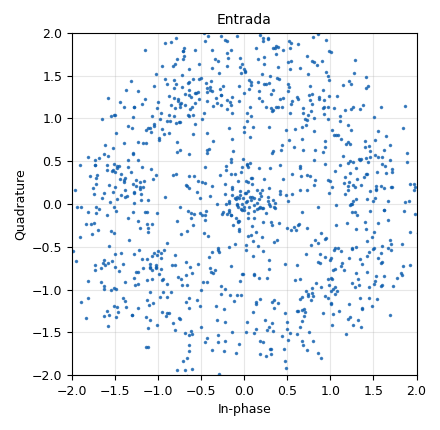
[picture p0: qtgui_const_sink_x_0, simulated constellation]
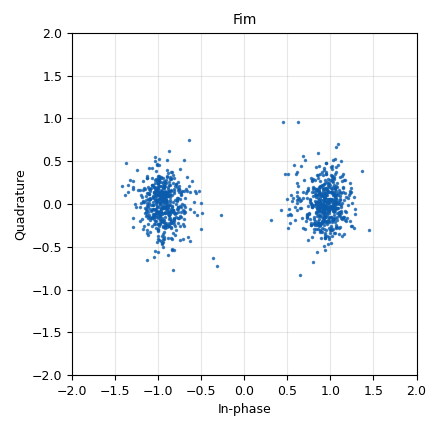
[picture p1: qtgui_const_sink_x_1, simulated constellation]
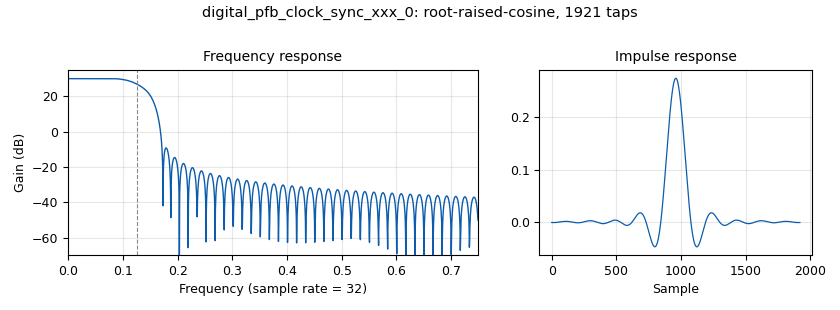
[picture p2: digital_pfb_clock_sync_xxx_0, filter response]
<?xml version='1.0' encoding='utf-8'?>
<?grc format='1' created='3.7.11'?>
<flow_graph>
<block>
<key>options</key>
<param><key>id</key><value>top_block</value></param>
<param><key>generate_options</key><value>qt_gui</value></param>
</block>
<block>
<key>variable_constellation</key>
<param><key>id</key><value>PSK</value></param>
<param><key>type</key><value>bpsk</value></param>
<param><key>precision</key><value>8</value></param>
</block>
<block>
<key>variable_qtgui_range</key>
<param><key>id</key><value>freq_offset</value></param>
<param><key>value</key><value>0.008</value></param>
<param><key>label</key><value>Frequency Offset</value></param>
<param><key>orient</key><value>Qt.Horizontal</value></param>
<param><key>start</key><value>-0.1</value></param>
<param><key>step</key><value>0.001</value></param>
<param><key>stop</key><value>0.1</value></param>
</block>
<block>
<key>variable_qtgui_range</key>
<param><key>id</key><value>gain_CMA</value></param>
<param><key>value</key><value>35e-3</value></param>
<param><key>orient</key><value>Qt.Horizontal</value></param>
<param><key>start</key><value>0</value></param>
<param><key>step</key><value>1e-3</value></param>
<param><key>stop</key><value>100e-3</value></param>
</block>
<block>
<key>variable_qtgui_range</key>
<param><key>id</key><value>loop_bw_CL</value></param>
<param><key>value</key><value>62.8e-3</value></param>
<param><key>orient</key><value>Qt.Horizontal</value></param>
<param><key>start</key><value>0</value></param>
<param><key>step</key><value>1e-3</value></param>
<param><key>stop</key><value>100e-3</value></param>
</block>
<block>
<key>variable_qtgui_range</key>
<param><key>id</key><value>loop_bw_PCS</value></param>
<param><key>value</key><value>62.8e-3</value></param>
<param><key>orient</key><value>Qt.Horizontal</value></param>
<param><key>start</key><value>0</value></param>
<param><key>step</key><value>1e-3</value></param>
<param><key>stop</key><value>400e-3</value></param>
</block>
<block>
<key>variable</key>
<param><key>id</key><value>nfilts</value></param>
<param><key>value</key><value>32</value></param>
</block>
<block>
<key>variable</key>
<param><key>id</key><value>ntaps</value></param>
<param><key>value</key><value>15</value></param>
</block>
<block>
<key>variable_constellation_rect</key>
<param><key>id</key><value>qpsk</value></param>
<param><key>const_points</key><value>[0.707+0.707j, -0.707+0.707j, -0.707-0.707j, 0.707-0.707j]</value></param>
<param><key>_enabled</key><value>0</value></param>
<param><key>imag_sect</key><value>2</value></param>
<param><key>real_sect</key><value>2</value></param>
<param><key>rot_sym</key><value>4</value></param>
<param><key>sym_map</key><value>[0, 1, 2, 3]</value></param>
<param><key>w_imag_sect</key><value>1</value></param>
<param><key>w_real_sect</key><value>1</value></param>
</block>
<block>
<key>variable</key>
<param><key>id</key><value>rrc_taps</value></param>
<param><key>_enabled</key><value>0</value></param>
<param><key>value</key><value>firdes.root_raised_cosine(32, 32, 1.0/float(2), 0.35, 11*2*32)</value></param>
</block>
<block>
<key>variable</key>
<param><key>id</key><value>rrc_taps</value></param>
<param><key>value</key><value>firdes.root_raised_cosine(nfilts, nfilts, 1.0/float(sps), 0.35, ntaps*sps*nfilts)</value></param>
</block>
<block>
<key>variable</key>
<param><key>id</key><value>samp_rate</value></param>
<param><key>value</key><value>250e3</value></param>
</block>
<block>
<key>variable</key>
<param><key>id</key><value>sps</value></param>
<param><key>value</key><value>4</value></param>
</block>
<block>
<key>variable_qtgui_range</key>
<param><key>id</key><value>time_offset</value></param>
<param><key>value</key><value>1.0005</value></param>
<param><key>label</key><value>Timing Offset</value></param>
<param><key>orient</key><value>Qt.Horizontal</value></param>
<param><key>start</key><value>0.999</value></param>
<param><key>step</key><value>0.0001</value></param>
<param><key>stop</key><value>1.001</value></param>
</block>
<block>
<key>analog_agc_xx</key>
<param><key>id</key><value>analog_agc_xx_0</value></param>
<param><key>_enabled</key><value>2</value></param>
<param><key>gain</key><value>1.0</value></param>
<param><key>max_gain</key><value>65536</value></param>
<param><key>rate</key><value>1e-4</value></param>
<param><key>reference</key><value>1.0</value></param>
<param><key>type</key><value>complex</value></param>
</block>
<block>
<key>analog_random_source_x</key>
<param><key>id</key><value>analog_random_source_x_0</value></param>
<param><key>max</key><value>256</value></param>
<param><key>min</key><value>0</value></param>
<param><key>num_samps</key><value>10000</value></param>
<param><key>type</key><value>byte</value></param>
<param><key>repeat</key><value>True</value></param>
</block>
<block>
<key>blocks_throttle</key>
<param><key>id</key><value>blocks_throttle_0</value></param>
<param><key>samples_per_second</key><value>160e3</value></param>
<param><key>type</key><value>byte</value></param>
</block>
<block>
<key>blocks_vector_source_x</key>
<param><key>id</key><value>blocks_vector_source_x_0</value></param>
<param><key>_enabled</key><value>0</value></param>
<param><key>type</key><value>byte</value></param>
<param><key>repeat</key><value>True</value></param>
<param><key>vector</key><value>(15, 255, 64, 150, 32)</value></param>
</block>
<block>
<key>channels_channel_model</key>
<param><key>id</key><value>channels_channel_model_0</value></param>
<param><key>epsilon</key><value>time_offset</value></param>
<param><key>freq_offset</key><value>freq_offset</value></param>
<param><key>noise_voltage</key><value>100e-3</value></param>
<param><key>seed</key><value>0</value></param>
<param><key>taps</key><value>1+1j</value></param>
</block>
<block>
<key>digital_cma_equalizer_cc</key>
<param><key>id</key><value>digital_cma_equalizer_cc_0</value></param>
<param><key>mu</key><value>gain_CMA</value></param>
<param><key>modulus</key><value>1</value></param>
<param><key>num_taps</key><value>ntaps</value></param>
<param><key>sps</key><value>2</value></param>
</block>
<block>
<key>digital_constellation_modulator</key>
<param><key>id</key><value>digital_constellation_modulator_0</value></param>
<param><key>constellation</key><value>PSK</value></param>
<param><key>differential</key><value>False</value></param>
<param><key>excess_bw</key><value>0.35</value></param>
<param><key>samples_per_symbol</key><value>sps</value></param>
</block>
<block>
<key>digital_costas_loop_cc</key>
<param><key>id</key><value>digital_costas_loop_cc_0</value></param>
<param><key>w</key><value>loop_bw_CL</value></param>
<param><key>order</key><value>2</value></param>
</block>
<block>
<key>digital_pfb_clock_sync_xxx</key>
<param><key>id</key><value>digital_pfb_clock_sync_xxx_0</value></param>
<param><key>filter_size</key><value>32</value></param>
<param><key>init_phase</key><value>16</value></param>
<param><key>loop_bw</key><value>loop_bw_PCS</value></param>
<param><key>max_dev</key><value>1.5</value></param>
<param><key>osps</key><value>2</value></param>
<param><key>sps</key><value>sps</value></param>
<param><key>taps</key><value>rrc_taps</value></param>
<param><key>type</key><value>ccf</value></param>
</block>
<block>
<key>qtgui_const_sink_x</key>
<param><key>id</key><value>qtgui_const_sink_x_0</value></param>
<param><key>name</key><value>"Entrada"</value></param>
<param><key>size</key><value>1024</value></param>
<param><key>type</key><value>complex</value></param>
</block>
<block>
<key>qtgui_const_sink_x</key>
<param><key>id</key><value>qtgui_const_sink_x_1</value></param>
<param><key>name</key><value>"Fim"</value></param>
<param><key>size</key><value>1024</value></param>
<param><key>type</key><value>complex</value></param>
</block>
<block>
<key>uhd_usrp_source</key>
<param><key>id</key><value>uhd_usrp_source_1</value></param>
<param><key>ant0</key><value>TX/RX</value></param>
<param><key>bw0</key><value>250e3</value></param>
<param><key>center_freq0</key><value>2.45e9</value></param>
<param><key>dc_offs_enb0</key><value>""</value></param>
<param><key>iq_imbal_enb0</key><value>""</value></param>
<param><key>norm_gain0</key><value>False</value></param>
<param><key>gain0</key><value>30</value></param>
<param><key>clock_rate</key><value>0.0</value></param>
<param><key>dev_args</key><value>""</value></param>
<param><key>_enabled</key><value>0</value></param>
<param><key>type</key><value>fc32</value></param>
<param><key>samp_rate</key><value>samp_rate</value></param>
<param><key>hide_cmd_port</key><value>False</value></param>
<param><key>hide_lo_controls</key><value>True</value></param>
<param><key>sync</key><value></value></param>
</block>
<connection><source_block_id>analog_agc_xx_0</source_block_id><sink_block_id>digital_pfb_clock_sync_xxx_0</sink_block_id><source_key>0</source_key><sink_key>0</sink_key></connection>
<connection><source_block_id>analog_random_source_x_0</source_block_id><sink_block_id>blocks_throttle_0</sink_block_id><source_key>0</source_key><sink_key>0</sink_key></connection>
<connection><source_block_id>blocks_throttle_0</source_block_id><sink_block_id>digital_constellation_modulator_0</sink_block_id><source_key>0</source_key><sink_key>0</sink_key></connection>
<connection><source_block_id>blocks_vector_source_x_0</source_block_id><sink_block_id>blocks_throttle_0</sink_block_id><source_key>0</source_key><sink_key>0</sink_key></connection>
<connection><source_block_id>channels_channel_model_0</source_block_id><sink_block_id>analog_agc_xx_0</sink_block_id><source_key>0</source_key><sink_key>0</sink_key></connection>
<connection><source_block_id>channels_channel_model_0</source_block_id><sink_block_id>qtgui_const_sink_x_0</sink_block_id><source_key>0</source_key><sink_key>0</sink_key></connection>
<connection><source_block_id>digital_cma_equalizer_cc_0</source_block_id><sink_block_id>digital_costas_loop_cc_0</sink_block_id><source_key>0</source_key><sink_key>0</sink_key></connection>
<connection><source_block_id>digital_constellation_modulator_0</source_block_id><sink_block_id>channels_channel_model_0</sink_block_id><source_key>0</source_key><sink_key>0</sink_key></connection>
<connection><source_block_id>digital_costas_loop_cc_0</source_block_id><sink_block_id>qtgui_const_sink_x_1</sink_block_id><source_key>0</source_key><sink_key>0</sink_key></connection>
<connection><source_block_id>digital_pfb_clock_sync_xxx_0</source_block_id><sink_block_id>digital_cma_equalizer_cc_0</sink_block_id><source_key>0</source_key><sink_key>0</sink_key></connection>
<connection><source_block_id>uhd_usrp_source_1</source_block_id><sink_block_id>analog_agc_xx_0</sink_block_id><source_key>0</source_key><sink_key>0</sink_key></connection>
<connection><source_block_id>uhd_usrp_source_1</source_block_id><sink_block_id>qtgui_const_sink_x_0</sink_block_id><source_key>0</source_key><sink_key>0</sink_key></connection>
</flow_graph>
